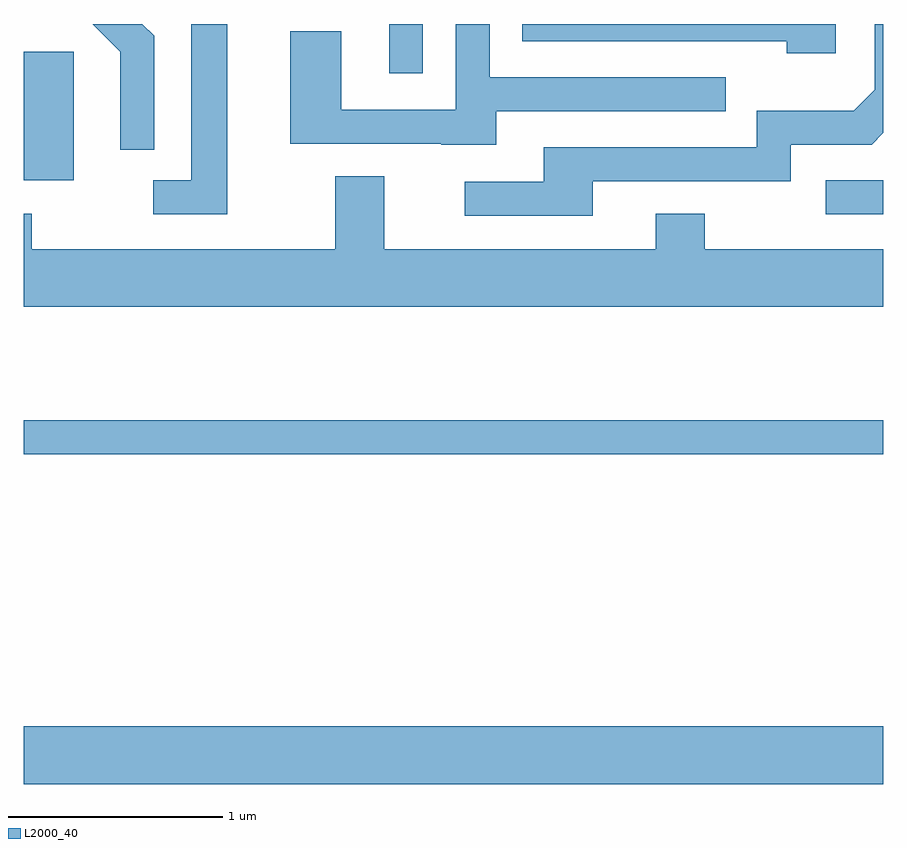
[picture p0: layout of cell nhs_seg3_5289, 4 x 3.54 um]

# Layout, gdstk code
import gdstk
lib = gdstk.Library(unit=1e-6, precision=1e-09)
def R(c, l, rs):  # rectangles x0, y0, x1, y1
    for r in rs: c.add(gdstk.rectangle(r[:2], r[2:], *l))
def P(c, l, *ps):  # polygons
    for p in ps: c.add(gdstk.Polygon(p, *l))
L2000_40 = (2000, 40)

nhs_seg3_5289 = lib.new_cell('nhs_seg3_5289')
R(nhs_seg3_5289, L2000_40, [(339.611,1230.356,343.611,1230.624), (339.611,1231.891,343.611,1232.049), (343.343,1233.006,343.611,1233.164), (339.611,1233.166,339.844,1233.764), (341.311,1233.663,341.469,1233.892)])
P(nhs_seg3_5289, L2000_40, [(342.259,1233.161),(343.179,1233.161),(343.179,1233.331),(343.557,1233.331),(343.611,1233.385),(343.611,1233.892),(343.571,1233.892),(343.571,1233.587),(343.474,1233.489),(343.021,1233.489),(343.021,1233.319),(342.031,1233.319),(342.031,1233.159),(341.663,1233.159),(341.663,1233.001),(342.259,1233.001)],
  [(340.219,1233.837),(340.164,1233.892),(339.933,1233.892),(340.061,1233.764),(340.061,1233.308),(340.219,1233.308)],
  [(343.389,1233.892),(341.931,1233.892),(341.931,1233.811),(343.161,1233.811),(343.161,1233.756),(343.389,1233.756)],
  [(341.809,1233.486),(342.878,1233.486),(342.878,1233.644),(341.779,1233.644),(341.779,1233.892),(341.621,1233.892),(341.621,1233.494),(341.089,1233.494),(341.089,1233.859),(340.851,1233.859),(340.851,1233.336),(341.555,1233.336),(341.555,1233.331),(341.809,1233.331)],
  [(340.559,1233.892),(340.391,1233.892),(340.391,1233.164),(340.213,1233.164),(340.213,1233.006),(340.559,1233.006)],
  [(339.611,1233.009),(339.611,1232.576),(343.611,1232.576),(343.611,1232.844),(342.779,1232.844),(342.779,1233.009),(342.551,1233.009),(342.551,1232.844),(341.289,1232.844),(341.289,1233.184),(341.061,1233.184),(341.061,1232.844),(339.649,1232.844),(339.649,1233.009)])

lib.write_gds('nhs_seg3_5289.gds')
